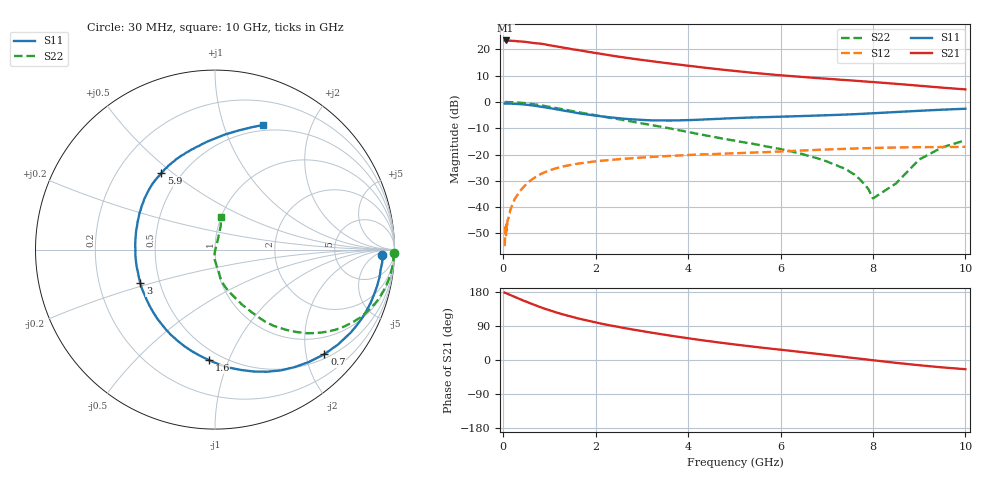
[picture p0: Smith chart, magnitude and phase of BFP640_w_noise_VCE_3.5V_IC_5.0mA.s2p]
! (c) 2013  Infineon Technologies AG, Munich
! Infineon Technologies  Discrete & RF Semiconductors
! BFP640
! VCE =  3.5 V,  IC =  5.0 mA
! Common Emitter S-Parameters:  Apr 2013
# GHz  S  MA  R  50
!  f  S11  S21  S12  S22
! GHz  MAG  ANG  MAG  ANG  MAG  ANG  MAG  ANG
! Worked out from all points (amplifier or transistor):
!   99 points, 30 MHz to 10 GHz, reference 50 ohm
!   highest |S21| = 23.4 dB at 50 MHz (marker M1)
!   |S21| within 3 dB of that: start of sweep to 1.389 GHz
!   unconditionally stable (mu >= 1): 4.94 GHz to end of sweep
!   at 350 MHz: K = 0.07, MSG = 28.6 dB, |S12| = -34.2 dB
!   at 3.5 GHz: K = 0.83, MSG = 17.7 dB, |S12| = -20.6 dB
!   at 10 GHz: K = 1.15, MAG = 8.6 dB, |S12| = -17.1 dB
!   lowest NFmin = 0.54 dB at 450 MHz
!   S11 on the Smith chart (normalised r, x): 30 MHz: 24, -11; 700 MHz: 0.59, -2.37; 1.6 GHz: 0.43, -0.85; 3 GHz: 0.39, -0.18; 5.9 GHz: 0.39, +0.46; 10 GHz: 0.44, +1.36
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0.03  0.9334 -1.9  14.69 177.7  0.0018 71.7  0.9961 -1.1
0.05  0.9359 -3.1  14.81 177.0  0.0042 62.1  0.9968 -2.0
0.06  0.9342 -3.8  14.69 176.3  0.0029 101.0  0.9945 -2.1
0.25  0.9207 -15.9  14.51 166.5  0.0143 80.5  0.9841 -9.2
0.45  0.8946 -28.4  14.02 156.1  0.0245 74.6  0.9551 -16.4
0.7  0.8433 -43.7  13.12 144.3  0.0373 66.8  0.8952 -24.9
0.9  0.7907 -55.9  12.51 135.3  0.046 60.6  0.8378 -30.8
1.1  0.7392 -67.0  11.62 127.4  0.0532 55.0  0.7794 -35.8
1.6  0.6165 -93.2  9.801 110.3  0.0665 44.4  0.6461 -45.3
1.7  0.597 -98.1  9.461 107.4  0.0685 42.8  0.6205 -46.8
2.3  0.5099 -126.0  7.754 91.6  0.0786 34.2  0.501 -54.4
3  0.456 -155.9  6.307 76.4  0.0875 27.3  0.3915 -60.4
3.4  0.445 -172.3  5.681 68.4  0.0918 23.8  0.3394 -64.0
4.1  0.4538 163.1  4.78 55.6  0.0986 18.5  0.2579 -70.3
5.1  0.496 138.1  3.82 39.7  0.1063 12.3  0.1766 -78.3
5.9  0.5214 124.9  3.274 28.5  0.1132 8.1  0.1313 -80.1
6.7  0.5483 113.1  2.89 17.6  0.1214 3.3  0.0894 -84.5
7.6  0.5846 98.7  2.541 5.0  0.1298 -3.1  0.0415 -94.1
8  0.6091 92.5  2.393 -0.6  0.133 -6.0  0.0146 -94.4
8.5  0.6435 85.1  2.214 -7.5  0.136 -9.8  0.0282 72.1
9  0.6783 78.5  2.038 -13.8  0.1379 -13.3  0.0802 75.1
10  0.7426 69.1  1.733 -24.3  0.1398 -18.8  0.1863 79.4
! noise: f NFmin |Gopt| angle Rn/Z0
0.45  0.54  0.45  12  0.1
0.9  0.56  0.45  21  0.1
1.5  0.59  0.39  33  0.1
1.9  0.64  0.34  51  0.1
2.4  0.69  0.31  58  0.1
3.5  0.84  0.26  84  0.09
5.5  1.1  0.28  -156  0.11
10  1.81  0.63  -65  0.45
